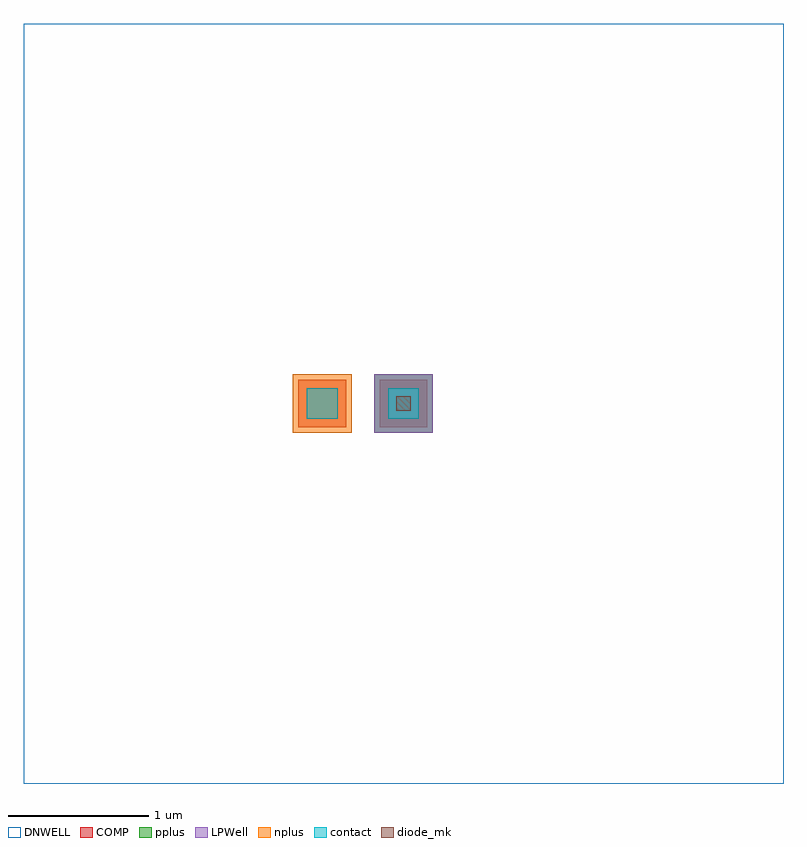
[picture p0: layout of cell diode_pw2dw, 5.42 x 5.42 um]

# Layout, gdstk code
import gdstk
lib = gdstk.Library(unit=1e-6, precision=1e-09)
def R(c, l, rs):  # rectangles x0, y0, x1, y1
    for r in rs: c.add(gdstk.rectangle(r[:2], r[2:], *l))
DNWELL = (12, 0)
COMP = (22, 0)
pplus = (31, 0)
nplus = (32, 0)
contact = (33, 0)
diode_mk = (115, 5)
LPWell = (204, 0)

compass_5c90cb24 = lib.new_cell('compass_5c90cb24')
R(compass_5c90cb24, COMP, [(-0.05,-0.05,0.05,0.05)])

rectangle_5c90cb24 = lib.new_cell('rectangle_5c90cb24')
rectangle_5c90cb24.add(gdstk.Reference(compass_5c90cb24, (0.05,0.05)))

compass_cc04d52f = lib.new_cell('compass_cc04d52f')
R(compass_cc04d52f, pplus, [(-0.21,-0.21,0.21,0.21)])

rectangle_cc04d52f = lib.new_cell('rectangle_cc04d52f')
rectangle_cc04d52f.add(gdstk.Reference(compass_cc04d52f, (0.21,0.21)))

compass_cacfdad8 = lib.new_cell('compass_cacfdad8')
R(compass_cacfdad8, diode_mk, [(-0.05,-0.05,0.05,0.05)])

rectangle_cacfdad8 = lib.new_cell('rectangle_cacfdad8')
rectangle_cacfdad8.add(gdstk.Reference(compass_cacfdad8, (0.05,0.05)))

compass_ca6defb4 = lib.new_cell('compass_ca6defb4')
R(compass_ca6defb4, LPWell, [(-0.21,-0.21,0.21,0.21)])

rectangle_ca6defb4 = lib.new_cell('rectangle_ca6defb4')
rectangle_ca6defb4.add(gdstk.Reference(compass_ca6defb4, (0.21,0.21)))

compass_f38dc993 = lib.new_cell('compass_f38dc993')
R(compass_f38dc993, contact, [(-0.11,-0.11,0.11,0.11)])

rectangle_f38dc993 = lib.new_cell('rectangle_f38dc993')
rectangle_f38dc993.add(gdstk.Reference(compass_f38dc993, (0.11,0.11)))

via_generator_fb634f5e = lib.new_cell('via_generator_fb634f5e')
r = gdstk.Reference(rectangle_f38dc993, (-0.06,-0.06)); r.repetition = gdstk.Repetition(1, 1, v1=(0.5,0), v2=(0,0.5)); via_generator_fb634f5e.add(r)

compass_9deecdff = lib.new_cell('compass_9deecdff')
R(compass_9deecdff, COMP, [(-0.17,-0.17,0.17,0.17)])

rectangle_9deecdff = lib.new_cell('rectangle_9deecdff')
rectangle_9deecdff.add(gdstk.Reference(compass_9deecdff, (0.17,0.17)))

via_stack_702b90f4 = lib.new_cell('via_stack_702b90f4')
via_stack_702b90f4.add(gdstk.Reference(via_generator_fb634f5e, (0,0)))
via_stack_702b90f4.add(gdstk.Reference(rectangle_9deecdff, (-0.12,-0.12)))

compass_4bdc5092 = lib.new_cell('compass_4bdc5092')
R(compass_4bdc5092, nplus, [(-0.21,-0.21,0.21,0.21)])

rectangle_4bdc5092 = lib.new_cell('rectangle_4bdc5092')
rectangle_4bdc5092.add(gdstk.Reference(compass_4bdc5092, (0.21,0.21)))

via_generator_9f1fa7ac = lib.new_cell('via_generator_9f1fa7ac')
r = gdstk.Reference(rectangle_f38dc993, (-0.64,-0.06)); r.repetition = gdstk.Repetition(1, 1, v1=(0.5,0), v2=(0,0.5)); via_generator_9f1fa7ac.add(r)

via_stack_7e13ea88 = lib.new_cell('via_stack_7e13ea88')
via_stack_7e13ea88.add(gdstk.Reference(via_generator_9f1fa7ac, (0,0)))
via_stack_7e13ea88.add(gdstk.Reference(rectangle_9deecdff, (-0.7,-0.12)))

compass_29313caf = lib.new_cell('compass_29313caf')
R(compass_29313caf, DNWELL, [(-2.71,-2.71,2.71,2.71)])

rectangle_29313caf = lib.new_cell('rectangle_29313caf')
rectangle_29313caf.add(gdstk.Reference(compass_29313caf, (2.71,2.71)))

diode_pw2dw = lib.new_cell('diode_pw2dw')
diode_pw2dw.add(gdstk.Reference(rectangle_5c90cb24, (0,0)))
diode_pw2dw.add(gdstk.Reference(rectangle_cc04d52f, (-0.16,-0.16)))
diode_pw2dw.add(gdstk.Reference(rectangle_cacfdad8, (0,0)))
diode_pw2dw.add(gdstk.Reference(rectangle_ca6defb4, (-0.16,-0.16)))
diode_pw2dw.add(gdstk.Reference(via_stack_702b90f4, (0,0)))
diode_pw2dw.add(gdstk.Reference(rectangle_5c90cb24, (-0.58,0)))
diode_pw2dw.add(gdstk.Reference(rectangle_4bdc5092, (-0.74,-0.16)))
diode_pw2dw.add(gdstk.Reference(via_stack_7e13ea88, (0,0)))
diode_pw2dw.add(gdstk.Reference(rectangle_29313caf, (-2.66,-2.66)))

lib.write_gds('diode_pw2dw.gds')
